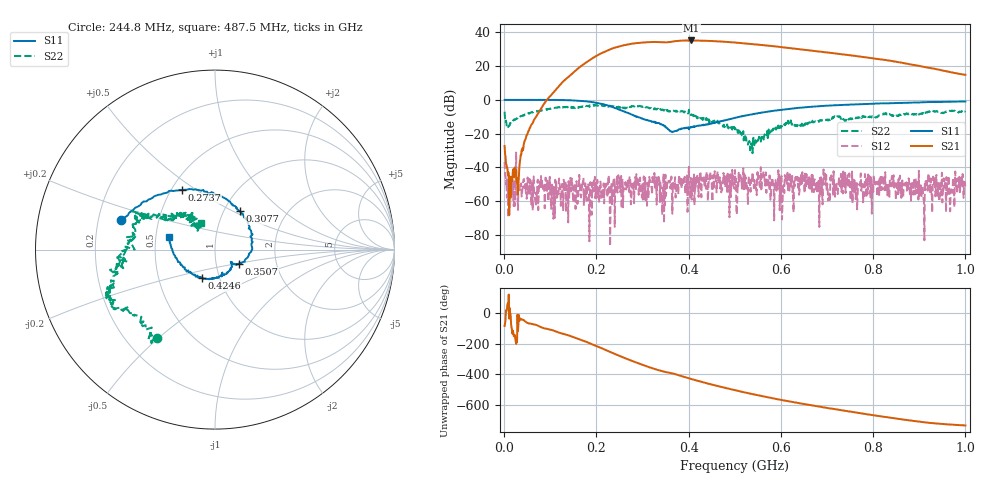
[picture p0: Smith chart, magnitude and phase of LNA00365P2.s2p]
! Created with skrf 1.9.0 (http://scikit-rf.org).
# Hz S RI R 50.0
!freq ReS11 ImS11 ReS21 ImS21 ReS12 ImS12 ReS22 ImS22
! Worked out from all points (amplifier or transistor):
!   1001 points, 1 MHz to 1 GHz, reference 50 ohm
!   highest |S21| = 35.1 dB at 405.6 MHz (marker M1)
!   |S21| within 3 dB of that: 256.9 MHz to 569 MHz (312.1 MHz wide, 75.6 % of centre)
!   unconditionally stable (mu >= 1): 5.018 MHz to 78.38 MHz; 286.9 MHz to 400.3 MHz; 400.7 MHz to end of sweep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
!   at 166.8 MHz: K = 2.55, MAG = 32.0 dB, |S12| = -57.8 dB
!   at 500.5 MHz: K = 1.31, MAG = 34.4 dB, |S12| = -41.5 dB
!   at 1 GHz: K = 6.01, MAG = 23.1 dB, |S12| = -52.8 dB
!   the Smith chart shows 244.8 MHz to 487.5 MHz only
!   S11 on the Smith chart (normalised r, x): 244.8 MHz: 0.30, +0.14; 273.7 MHz: 0.57, +0.44; 307.7 MHz: 1.18, +0.55; 350.6 MHz: 1.28, -0.20; 424.6 MHz: 0.83, -0.27; 487.5 MHz: 0.59, +0.09
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1000000  0.9963 0.0114  0.00348 -0.0431  -0.0147 0.000698  0.2937 0.3375
1.08892e8  0.5137 -0.8513  -0.8257 -1.579  -0.000269 0.00164  0.4386 -0.3769
1.67833e8  -0.2445 -0.8958  -10.23 -0.506  0.000204 0.00301  0.0609 -0.6302
2.09791e8  -0.6689 -0.375  -15.79 17.52  0.00243 0.000282  -0.1842 -0.6465
2.44756e8  -0.5258 0.1642  2.046 36.71  -0.00561 -0.00178  -0.3237 -0.4942
2.73727e8  -0.1824 0.3325  28.24 35.02  -0.00371 -6.67e-05  -0.5227 -0.3272
3.07693e8  0.1372 0.2157  48.99 12.49  -0.0017 0.000281  -0.5724 -0.1881
3.34666e8  0.2074 -0.000523  49.97 -11.35  0.00112 0.00518  -0.488 -0.0672
3.5065e8  0.1312 -0.0777  45.55 -21.11  -0.000665 -0.00127  -0.4746 0.0493
3.75625e8  0.0922 -0.0811  40.48 -37.89  -0.00295 -0.000357  -0.4253 0.1549
4.05595e8  0.0189 -0.1572  19.82 -53.61  -0.00146 0.0045  -0.3123 0.1995
4.24576e8  -0.0723 -0.1566  4.592 -56.14  0.00389 0.00273  -0.2333 0.1657
4.53547e8  -0.1906 -0.0837  -17.09 -51.8  0.00392 0.00449  -0.1621 0.1649
4.87513e8  -0.2569 0.0706  -34.87 -37.38  0.00432 0.00114  -0.0754 0.1479
5.005e8  -0.2536 0.1442  -39.63 -30.27  0.00458 -0.007  -0.1041 0.0839
5.4046e8  -0.1814 0.3365  -43.43 -8.523  0.00421 0.000764  -0.0745 0.0134
5.88412e8  0.0231 0.482  -35.98 12.1  0.00122 -0.00413  -0.1232 -0.0867
6.67333e8  0.3943 0.4847  -13.61 24.79  0.0012 -0.00147  -0.2067 -0.0561
7.53247e8  0.6722 0.2772  4.579 19.99  0.0014 -0.00317  -0.2678 -0.00384
8.34166e8  0.7921 0.0134  11.05 9.442  0.00127 -0.00126  -0.3794 0.00556
9.09091e8  0.8135 -0.2415  9.369 1.619  -0.00107 0.000446  -0.3584 0.15
1e9  0.7255 -0.5239  5.398 -1.056  -0.00224 0.000452  -0.3187 0.3401
